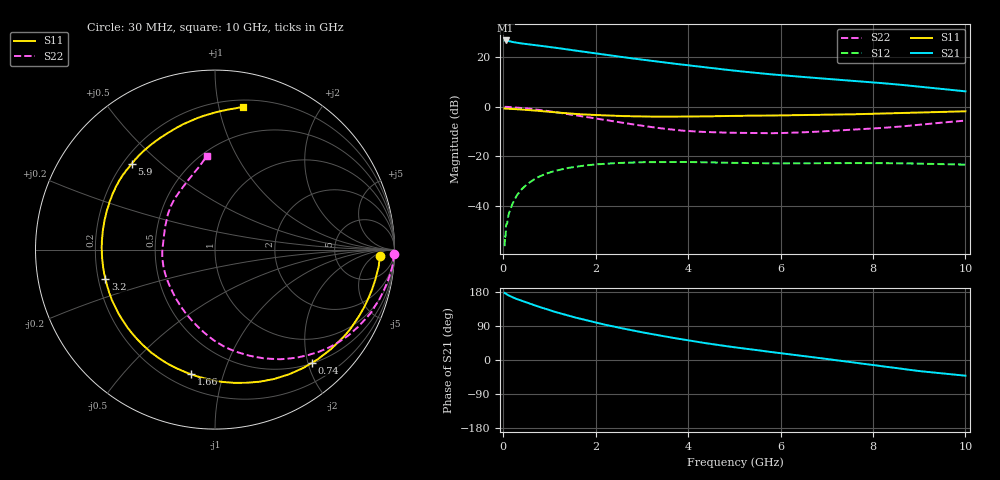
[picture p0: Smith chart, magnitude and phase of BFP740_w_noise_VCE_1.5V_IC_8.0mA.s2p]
! Infineon Technologies  Discrete & RF Semiconductors
! BFP740
! VCE =  1.5 V,  IC =  8.0 mA
! Common Emitter S-Parameters:  Jan 2016
# GHz  S  MA  R  50
!  f  S11  S21  S12  S22
! GHz  MAG  ANG  MAG  ANG  MAG  ANG  MAG  ANG
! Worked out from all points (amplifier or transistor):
!   229 points, 30 MHz to 10 GHz, reference 50 ohm
!   highest |S21| = 26.9 dB at 50 MHz (marker M1)
!   |S21| within 3 dB of that: start of sweep to 1.148 GHz
!   unconditionally stable (mu >= 1): 7.271 GHz to end of sweep
!   at 280 MHz: K = 0.12, MSG = 31.2 dB, |S12| = -36.4 dB
!   at 1.78 GHz: K = 0.30, MSG = 23.0 dB, |S12| = -23.8 dB
!   at 10 GHz: K = 1.13, MAG = 12.6 dB, |S12| = -23.4 dB
!   lowest NFmin = 0.48 dB at 450 MHz
!   S11 on the Smith chart (normalised r, x): 30 MHz: 20, -9; 740 MHz: 0.51, -2.08; 1.66 GHz: 0.28, -0.79; 3.2 GHz: 0.23, -0.13; 5.9 GHz: 0.23, +0.40; 10 GHz: 0.26, +1.18
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0.03  0.9195 -2.2  21.99 177.0  0.0015 86.8  0.9963 -1.5
0.05  0.9188 -3.6  22.05 175.6  0.0025 126.4  0.9947 -2.5
0.13  0.9105 -9.5  21.34 169.5  0.0072 86.7  0.9888 -6.8
0.26  0.8952 -18.4  20.09 162.5  0.014 79.1  0.9694 -13.0
0.48  0.8686 -32.8  18.75 152.8  0.0251 70.6  0.9326 -22.9
0.74  0.8304 -49.3  17.55 141.9  0.0368 60.9  0.8757 -34.1
0.92  0.8043 -60.5  16.74 134.7  0.0438 54.7  0.8315 -41.5
1.14  0.7706 -73.3  15.65 126.3  0.0508 48.0  0.7743 -50.0
1.42  0.7341 -88.5  14.33 116.7  0.0579 40.3  0.7065 -59.8
1.66  0.7071 -100.9  13.36 109.0  0.0626 34.5  0.6512 -67.6
1.7  0.7037 -102.9  13.2 107.7  0.0634 33.6  0.6423 -68.9
2.1  0.6751 -121.7  11.68 96.0  0.0692 25.2  0.5609 -81.6
2.38  0.6575 -133.8  10.76 88.5  0.0716 20.2  0.5095 -90.0
2.82  0.6403 -151.0  9.489 77.6  0.0744 13.4  0.4381 -102.9
3.2  0.6324 -164.8  8.551 68.8  0.0757 8.0  0.3893 -115.0
3.4  0.6307 -171.7  8.107 64.3  0.0761 5.4  0.3678 -121.7
4.2  0.6369 164.9  6.565 47.9  0.0756 -3.2  0.3145 -148.5
5.1  0.655 145.9  5.271 32.0  0.0731 -10.0  0.2959 -173.5
5.9  0.6667 134.1  4.456 19.6  0.0715 -13.4  0.292 168.3
6.8  0.684 122.0  3.807 5.9  0.0718 -17.6  0.313 150.1
8.4  0.7396 97.6  2.9 -19.7  0.0718 -26.2  0.3846 119.4
10  0.8098 78.9  2.055 -41.4  0.0674 -32.2  0.5248 94.9
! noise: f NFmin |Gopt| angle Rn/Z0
0.45  0.48  0.29  9  0.17
0.9  0.49  0.29  15  0.17
1.5  0.51  0.28  23  0.16
1.9  0.54  0.27  41  0.16
2.4  0.56  0.27  46  0.15
3.5  0.67  0.24  62  0.14
5.5  0.86  0.19  -178  0.13
10  1.39  0.52  -77  0.17
